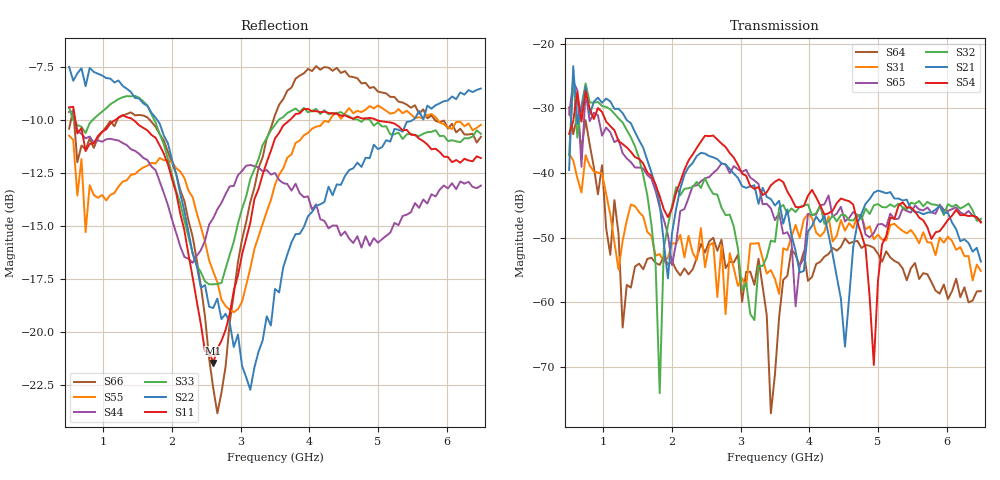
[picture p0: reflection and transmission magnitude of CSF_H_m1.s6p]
!Keysight Technologies,M9804A,MY58100912,A.14.10.03
!Date: Thursday, April 27, 2023 10:28:33
!Correction: S11(C  6-Port  )
!S12(C  6-Port  )
!S13(C  6-Port  )
!S14(C  6-Port  )
!S15(C  6-Port  )
!S16(C  6-Port  )
!S21(C  6-Port  )
!S22(C  6-Port  )
!S23(C  6-Port  )
!S24(C  6-Port  )
!S25(C  6-Port  )
!S26(C  6-Port  )
!S31(C  6-Port  )
!S32(C  6-Port  )
!S33(C  6-Port  )
!S34(C  6-Port  )
!S35(C  6-Port  )
!S36(C  6-Port  )
!S41(C  6-Port  )
!S42(C  6-Port  )
!S43(C  6-Port  )
!S44(C  6-Port  )
!S45(C  6-Port  )
!S46(C  6-Port  )
!S51(C  6-Port  )
!S52(C  6-Port  )
!S53(C  6-Port  )
!S54(C  6-Port  )
!S55(C  6-Port  )
!S56(C  6-Port  )
!S61(C  6-Port  )
!S62(C  6-Port  )
!S63(C  6-Port  )
!S64(C  6-Port  )
!S65(C  6-Port  )
!S66(C  6-Port  )
!S6P File: Measurement: :
# Hz S  RI  R 50
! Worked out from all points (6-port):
!   101 points, 500 MHz to 6.5 GHz, reference 50 ohm
!   strongest paths, dB at 500 MHz, 2 GHz, 3.5 GHz, 5 GHz, 6.5 GHz:
!     S54: -34.0, -45.5, -41.3, -56.7, -47.7
!     S21: -39.5, -49.3, -45.0, -42.7, -53.7
!     S32: -37.2, -45.0, -50.7, -44.8, -47.1
!     S65: -31.0, -54.3, -47.3, -48.0, -47.5
!     S31: -37.0, -50.8, -56.4, -49.6, -55.2
!     S64: -29.9, -53.7, -71.1, -52.5, -58.3
!   lowest |S11| = -21.4 dB at 2.6 GHz (marker M1), VSWR 1.19, Z = 42.5 + j2.2 ohm
!   |S11| at or under -10 dB: 589.8 MHz to 1.172 GHz (582 MHz wide, 66.1 % of centre); 1.435 GHz to 3.715 GHz (2.28 GHz wide, 88.6 % of centre); 4.98 GHz to end of sweep
